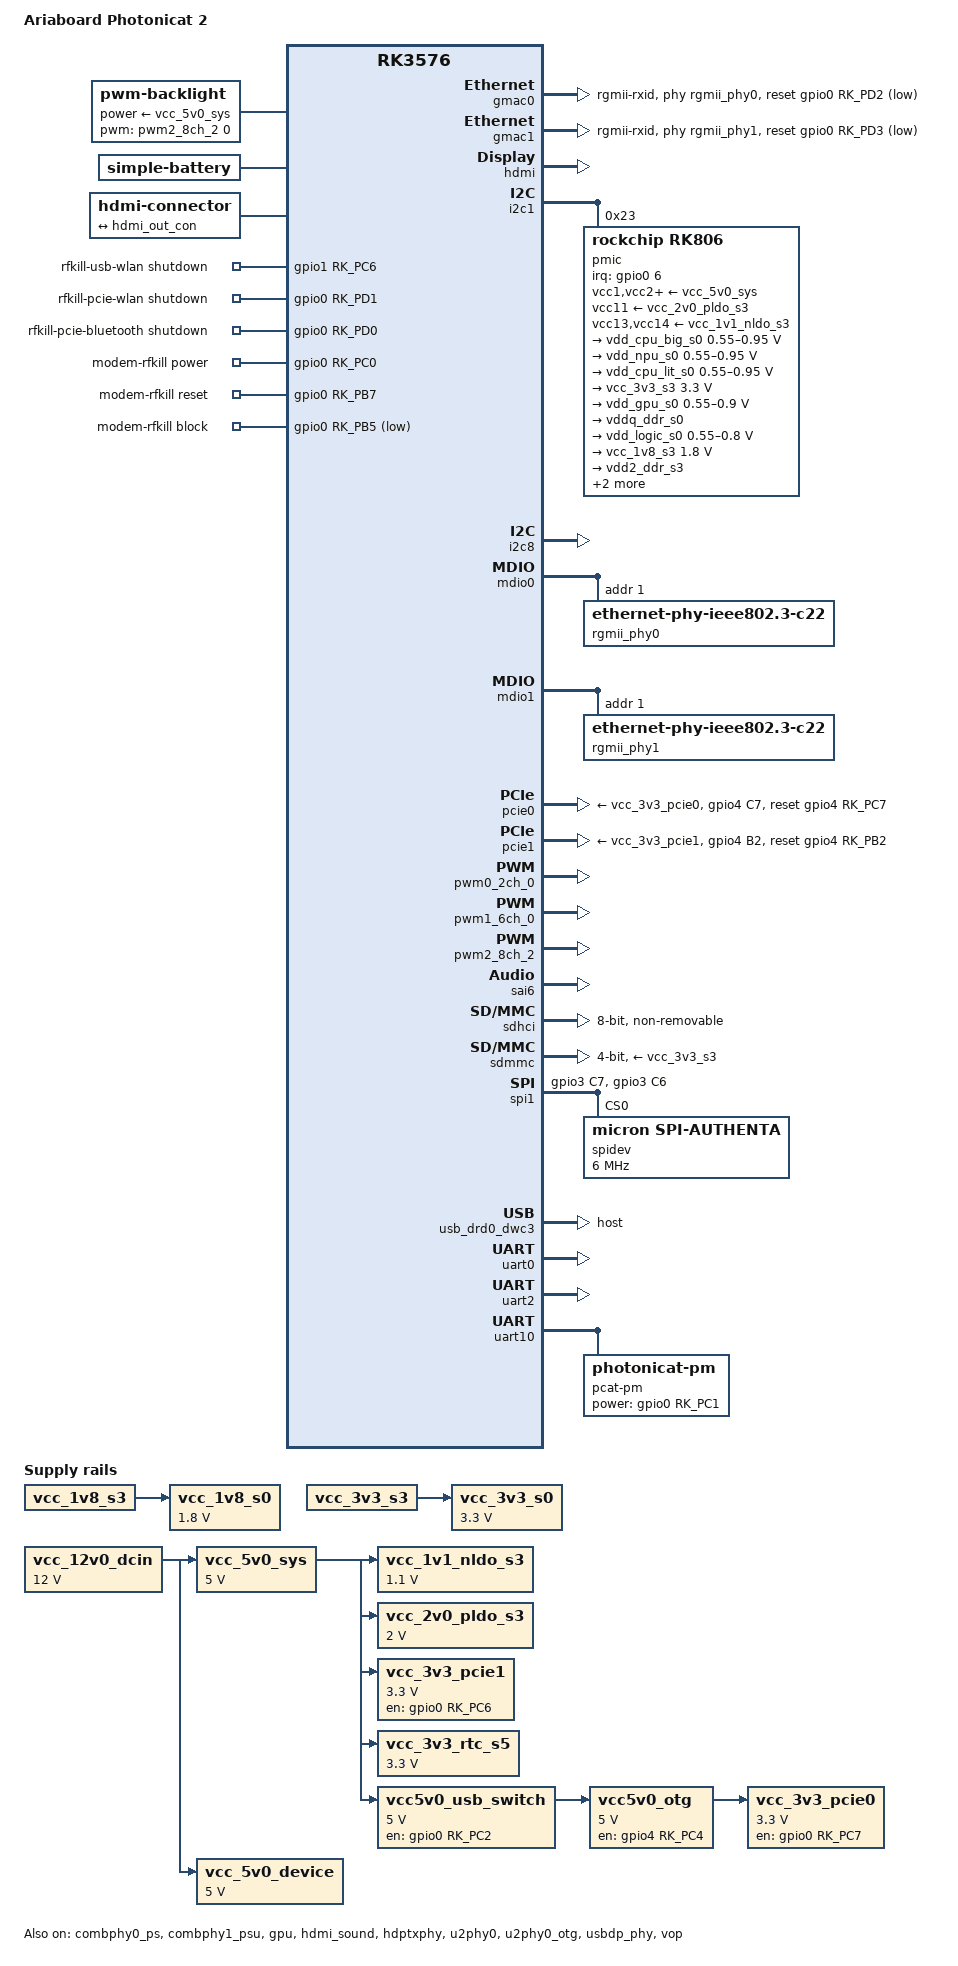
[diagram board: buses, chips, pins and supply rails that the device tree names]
// SPDX-License-Identifier: (GPL-2.0+ OR MIT)
/*
 * Copyright (c) 2024 Rockchip Electronics Co., Ltd.
 *
 */

/dts-v1/;

#include <dt-bindings/gpio/gpio.h>
#include <dt-bindings/leds/common.h>
#include <dt-bindings/pinctrl/rockchip.h>
#include <dt-bindings/pwm/pwm.h>
#include <dt-bindings/usb/pd.h>
#include <dt-bindings/thermal/thermal.h>
#include <dt-bindings/soc/rockchip,vop2.h>
#include "rk3576.dtsi"

/ {
	model = "Ariaboard Photonicat 2";
	compatible = "ariaboard,photonicat2", "rockchip,rk3576";

	aliases {
		ethernet0 = &gmac0;
		ethernet1 = &gmac1;
		mmc0 = &sdhci;
		mmc1 = &sdmmc;
	};

	chosen {
		stdout-path = "serial0:1500000n8";
	};

	backlight: backlight {
		compatible = "pwm-backlight";
		power-supply = <&vcc_5v0_sys>;
		pwms = <&pwm2_8ch_2 0 25000 PWM_POLARITY_INVERTED>;
	};

	battery: battery {
		compatible = "simple-battery";
		device-chemistry = "lithium-ion";
		voltage-min-design-microvolt = <6800000>;
		voltage-max-design-microvolt = <8400000>;
		energy-full-design-microwatt-hours = <51800000>;
		ocv-capacity-celsius = <20>;
		ocv-capacity-table-0 =  <8344000 100>, <8184000 95>, <8070000 90>, <7980000 85>,
					<7878000 80>, <7790000 75>, <7704000 70>, <7614000 65>,
					<7524000 60>, <7426000 55>, <7344000 50>, <7294000 45>,
					<7258000 40>, <7226000 35>, <7196000 30>, <7156000 25>,
					<7100000 20>, <7038000 15>, <6958000 10>, <6876000 5>,
					<6800000 0>;
	};

	hdmi-con {
		compatible = "hdmi-connector";
		type = "a";

		port {
			hdmi_con_in: endpoint {
				remote-endpoint = <&hdmi_out_con>;
			};
		};
	};

	vcc_12v0_dcin: regulator-vcc-12v0-dcin {
		compatible = "regulator-fixed";
		regulator-name = "vcc_12v0_dcin";
		regulator-always-on;
		regulator-boot-on;
		regulator-min-microvolt = <12000000>;
		regulator-max-microvolt = <12000000>;
	};

	vcc_1v1_nldo_s3: regulator-vcc-1v1-nldo-s3 {
		compatible = "regulator-fixed";
		regulator-name = "vcc_1v1_nldo_s3";
		regulator-boot-on;
		regulator-always-on;
		regulator-min-microvolt = <1100000>;
		regulator-max-microvolt = <1100000>;
		vin-supply = <&vcc_5v0_sys>;
	};

	vcc_1v8_s0: regulator-vcc-1v8-s0 {
		compatible = "regulator-fixed";
		regulator-name = "vcc_1v8_s0";
		regulator-boot-on;
		regulator-always-on;
		regulator-min-microvolt = <1800000>;
		regulator-max-microvolt = <1800000>;
		vin-supply = <&vcc_1v8_s3>;
	};

	vcc_2v0_pldo_s3: regulator-vcc-2v0-pldo-s3 {
		compatible = "regulator-fixed";
		regulator-name = "vcc_2v0_pldo_s3";
		regulator-boot-on;
		regulator-always-on;
		regulator-min-microvolt = <2000000>;
		regulator-max-microvolt = <2000000>;
		vin-supply = <&vcc_5v0_sys>;
	};

	vcc_3v3_pcie0: regulator-vcc-3v3-pcie0 {
		compatible = "regulator-fixed";
		pinctrl-names = "default";
		pinctrl-0 = <&pcie0_pwr_en>;
		regulator-name = "vcc_3v3_pcie0";
		regulator-min-microvolt = <3300000>;
		regulator-max-microvolt = <3300000>;
		enable-active-high;
		gpio = <&gpio0 RK_PC7 GPIO_ACTIVE_HIGH>;
		startup-delay-us = <5000>;
		vin-supply = <&vcc5v0_otg>;
	};

	vcc_3v3_pcie1: regulator-vcc-3v3-pcie1 {
		compatible = "regulator-fixed";
		pinctrl-names = "default";
		pinctrl-0 = <&pcie1_pwr_en>;
		regulator-name = "vcc_3v3_pcie1";
		regulator-min-microvolt = <3300000>;
		regulator-max-microvolt = <3300000>;
		enable-active-high;
		gpio = <&gpio0 RK_PC6 GPIO_ACTIVE_HIGH>;
		startup-delay-us = <5000>;
		vin-supply = <&vcc_5v0_sys>;
	};

	vcc_3v3_rtc_s5: regulator-vcc-3v3-rtc-s5 {
		compatible = "regulator-fixed";
		regulator-name = "vcc_3v3_rtc_s5";
		regulator-boot-on;
		regulator-always-on;
		regulator-min-microvolt = <3300000>;
		regulator-max-microvolt = <3300000>;
		vin-supply = <&vcc_5v0_sys>;
	};

	vcc_3v3_s0: regulator-vcc-3v3-s0 {
		compatible = "regulator-fixed";
		regulator-name = "vcc_3v3_s0";
		regulator-boot-on;
		regulator-always-on;
		regulator-min-microvolt = <3300000>;
		regulator-max-microvolt = <3300000>;
		vin-supply = <&vcc_3v3_s3>;
	};

	vcc_5v0_sys: regulator-vcc-5v0-sys {
		compatible = "regulator-fixed";
		regulator-name = "vcc_5v0_sys";
		regulator-always-on;
		regulator-boot-on;
		regulator-min-microvolt = <5000000>;
		regulator-max-microvolt = <5000000>;
		vin-supply = <&vcc_12v0_dcin>;
	};

	vcc_5v0_device: regulator-vcc-5v0-device {
		compatible = "regulator-fixed";
		regulator-name = "vcc_5v0_device";
		regulator-always-on;
		regulator-boot-on;
		regulator-min-microvolt = <5000000>;
		regulator-max-microvolt = <5000000>;
		vin-supply = <&vcc_12v0_dcin>;
	};

	vcc5v0_usb_switch: vcc5v0-usb-switch {
		compatible = "regulator-fixed";
		regulator-name = "vcc5v0_usb_switch";
		regulator-min-microvolt = <5000000>;
		regulator-max-microvolt = <5000000>;
		enable-active-high;
		startup-delay-us = <100000>;
		gpio = <&gpio0 RK_PC2 GPIO_ACTIVE_HIGH>;
		pinctrl-names = "default";
		pinctrl-0 = <&usb_hub_switch>;
		vin-supply = <&vcc_5v0_sys>;
	};

	vcc5v0_otg: regulator-vcc5v0-otg {
		compatible = "regulator-fixed";
		regulator-name = "vcc5v0_otg";
		regulator-min-microvolt = <5000000>;
		regulator-max-microvolt = <5000000>;
		enable-active-high;
		gpio = <&gpio4 RK_PC4 GPIO_ACTIVE_HIGH>;
		pinctrl-names = "default";
		pinctrl-0 = <&usb_otg_pwren>;
		vin-supply = <&vcc5v0_usb_switch>;
	};

	rfkill-usb-wlan {
		compatible = "rfkill-gpio";
		pinctrl-names = "default";
		pinctrl-0 = <&rfkill_usb_wlan>;
		label = "rfkill-usb-wlan";
		radio-type = "wlan";
		shutdown-gpios = <&gpio1 RK_PC6 GPIO_ACTIVE_HIGH>;
	};

	rfkill-pcie-wlan {
		compatible = "rfkill-gpio";
		pinctrl-names = "default";
		pinctrl-0 = <&rfkill_pcie_wlan>;
		label = "rfkill-pcie-wlan";
		radio-type = "wlan";
		shutdown-gpios = <&gpio0 RK_PD1 GPIO_ACTIVE_HIGH>;
	};

	rfkill-pcie-bluetooth {
		compatible = "rfkill-gpio";
		pinctrl-names = "default";
		pinctrl-0 = <&rfkill_pcie_bluetooth>;
		label = "rfkill-pcie-bluetooth";
		radio-type = "bluetooth";
		shutdown-gpios = <&gpio0 RK_PD0 GPIO_ACTIVE_HIGH>;
	};

	modem-rfkill {
		compatible = "rfkill-gpio-neo";
		pinctrl-names = "default";
		pinctrl-0 = <&rfkill_usb_wwan>;
		name = "modem-rfkill";
		type = "wwan";
		power-gpio = <&gpio0 RK_PC0 GPIO_ACTIVE_HIGH>;
		reset-gpio = <&gpio0 RK_PB7 GPIO_ACTIVE_HIGH>;
		block-gpio = <&gpio0 RK_PB5 GPIO_ACTIVE_LOW>;
		power-on-wait-time = <500>;
		reset-wait-time = <0>;
		reset-active-time = <800>;
	};
};

&combphy0_ps {
	status = "okay";
};

&combphy1_psu {
	status = "okay";
};

&cpu_b0 {
	cpu-supply = <&vdd_cpu_big_s0>;
};

&cpu_b1 {
	cpu-supply = <&vdd_cpu_big_s0>;
};

&cpu_b2 {
	cpu-supply = <&vdd_cpu_big_s0>;
};

&cpu_b3 {
	cpu-supply = <&vdd_cpu_big_s0>;
};

&cpu_l0 {
	cpu-supply = <&vdd_cpu_lit_s0>;
};

&cpu_l1 {
	cpu-supply = <&vdd_cpu_lit_s0>;
};

&cpu_l2 {
	cpu-supply = <&vdd_cpu_lit_s0>;
};

&cpu_l3 {
	cpu-supply = <&vdd_cpu_lit_s0>;
};

&gmac0 {
	phy-mode = "rgmii-rxid";
	clock_in_out = "output";

	snps,reset-gpio = <&gpio0 RK_PD2 GPIO_ACTIVE_LOW>;
	snps,reset-active-low;
	snps,reset-delays-us = <0 20000 100000>;

	pinctrl-names = "default";
	pinctrl-0 = <&eth0m1_miim
		     &eth0m1_tx_bus2
		     &eth0m1_rx_bus2
		     &eth0m1_rgmii_clk
		     &eth0m1_rgmii_bus
		     &ethm1_clk0_25m_out>;

	tx_delay = <0x20>;
	/* rx_delay = <0x3f>; */

	phy-handle = <&rgmii_phy0>;
	status = "okay";
};

&gmac1 {
	phy-mode = "rgmii-rxid";
	clock_in_out = "output";

	snps,reset-gpio = <&gpio0 RK_PD3 GPIO_ACTIVE_LOW>;
	snps,reset-active-low;
	snps,reset-delays-us = <0 20000 100000>;

	pinctrl-names = "default";
	pinctrl-0 = <&eth1m0_miim
		     &eth1m0_tx_bus2
		     &eth1m0_rx_bus2
		     &eth1m0_rgmii_clk
		     &eth1m0_rgmii_bus
		     &ethm0_clk1_25m_out>;

	tx_delay = <0x20>;
	/* rx_delay = <0x3f>; */

	phy-handle = <&rgmii_phy1>;
	status = "okay";
};

&gpu {
	mali-supply = <&vdd_gpu_s0>;
	status = "okay";
};

&hdmi {
	enable-gpios = <&gpio4 RK_PA6 GPIO_ACTIVE_HIGH>;
	status = "okay";
};

&hdmi_in {
	hdmi_in_vp0: endpoint {
		remote-endpoint = <&vp0_out_hdmi>;
	};
};

&hdmi_out {
	hdmi_out_con: endpoint {
		remote-endpoint = <&hdmi_con_in>;
	};
};

&hdmi_sound {
	status = "okay";
};

&hdptxphy {
	status = "okay";
};

&i2c1 {
	status = "okay";

	pmic@23 {
		compatible = "rockchip,rk806";
		reg = <0x23>;

		interrupt-parent = <&gpio0>;
		interrupts = <6 IRQ_TYPE_LEVEL_LOW>;

		pinctrl-names = "default";
		pinctrl-0 = <&pmic_pins>, <&rk806_dvs1_null>,
			    <&rk806_dvs2_null>, <&rk806_dvs3_null>;

		system-power-controller;

		vcc1-supply = <&vcc_5v0_sys>;
		vcc2-supply = <&vcc_5v0_sys>;
		vcc3-supply = <&vcc_5v0_sys>;
		vcc4-supply = <&vcc_5v0_sys>;
		vcc5-supply = <&vcc_5v0_sys>;
		vcc6-supply = <&vcc_5v0_sys>;
		vcc7-supply = <&vcc_5v0_sys>;
		vcc8-supply = <&vcc_5v0_sys>;
		vcc9-supply = <&vcc_5v0_sys>;
		vcc10-supply = <&vcc_5v0_sys>;
		vcc11-supply = <&vcc_2v0_pldo_s3>;
		vcc12-supply = <&vcc_5v0_sys>;
		vcc13-supply = <&vcc_1v1_nldo_s3>;
		vcc14-supply = <&vcc_1v1_nldo_s3>;
		vcca-supply = <&vcc_5v0_sys>;

		gpio-controller;
		#gpio-cells = <2>;

		rk806_dvs1_null: dvs1-null-pins {
			pins = "gpio_pwrctrl1";
			function = "pin_fun0";
		};

		rk806_dvs2_null: dvs2-null-pins {
			pins = "gpio_pwrctrl2";
			function = "pin_fun0";
		};

		rk806_dvs3_null: dvs3-null-pins {
			pins = "gpio_pwrctrl3";
			function = "pin_fun0";
		};

		rk806_dvs1_slp: dvs1-slp-pins {
			pins = "gpio_pwrctrl1";
			function = "pin_fun1";
		};

		rk806_dvs1_pwrdn: dvs1-pwrdn-pins {
			pins = "gpio_pwrctrl1";
			function = "pin_fun2";
		};

		rk806_dvs1_rst: dvs1-rst-pins {
			pins = "gpio_pwrctrl1";
			function = "pin_fun3";
		};

		rk806_dvs2_slp: dvs2-slp-pins {
			pins = "gpio_pwrctrl2";
			function = "pin_fun1";
		};

		rk806_dvs2_pwrdn: dvs2-pwrdn-pins {
			pins = "gpio_pwrctrl2";
			function = "pin_fun2";
		};

		rk806_dvs2_rst: dvs2-rst-pins {
			pins = "gpio_pwrctrl2";
			function = "pin_fun3";
		};

		rk806_dvs2_dvs: dvs2-dvs-pins {
			pins = "gpio_pwrctrl2";
			function = "pin_fun4";
		};

		rk806_dvs2_gpio: dvs2-gpio-pins {
			pins = "gpio_pwrctrl2";
			function = "pin_fun5";
		};

		rk806_dvs3_slp: dvs3-slp-pins {
			pins = "gpio_pwrctrl3";
			function = "pin_fun1";
		};

		rk806_dvs3_pwrdn: dvs3-pwrdn-pins {
			pins = "gpio_pwrctrl3";
			function = "pin_fun2";
		};

		rk806_dvs3_rst: dvs3-rst-pins {
			pins = "gpio_pwrctrl3";
			function = "pin_fun3";
		};

		rk806_dvs3_dvs: dvs3-dvs-pins {
			pins = "gpio_pwrctrl3";
			function = "pin_fun4";
		};

		rk806_dvs3_gpio: dvs3-gpio-pins {
			pins = "gpio_pwrctrl3";
			function = "pin_fun5";
		};

		regulators {
			vdd_cpu_big_s0: dcdc-reg1 {
				regulator-always-on;
				regulator-boot-on;
				regulator-min-microvolt = <550000>;
				regulator-max-microvolt = <950000>;
				regulator-ramp-delay = <12500>;
				regulator-name = "vdd_cpu_big_s0";
				regulator-enable-ramp-delay = <400>;
				regulator-state-mem {
					regulator-off-in-suspend;
				};
			};

			vdd_npu_s0: dcdc-reg2 {
				regulator-boot-on;
				regulator-min-microvolt = <550000>;
				regulator-max-microvolt = <950000>;
				regulator-ramp-delay = <12500>;
				regulator-name = "vdd_npu_s0";
				regulator-enable-ramp-delay = <400>;
				regulator-state-mem {
					regulator-off-in-suspend;
				};
			};

			vdd_cpu_lit_s0: dcdc-reg3 {
				regulator-always-on;
				regulator-boot-on;
				regulator-min-microvolt = <550000>;
				regulator-max-microvolt = <950000>;
				regulator-ramp-delay = <12500>;
				regulator-name = "vdd_cpu_lit_s0";
				regulator-state-mem {
					regulator-off-in-suspend;
					regulator-suspend-microvolt = <750000>;
				};
			};

			vcc_3v3_s3: dcdc-reg4 {
				regulator-always-on;
				regulator-boot-on;
				regulator-min-microvolt = <3300000>;
				regulator-max-microvolt = <3300000>;
				regulator-name = "vcc_3v3_s3";
				regulator-state-mem {
					regulator-on-in-suspend;
					regulator-suspend-microvolt = <3300000>;
				};
			};

			vdd_gpu_s0: dcdc-reg5 {
				regulator-boot-on;
				regulator-min-microvolt = <550000>;
				regulator-max-microvolt = <900000>;
				regulator-ramp-delay = <12500>;
				regulator-name = "vdd_gpu_s0";
				regulator-enable-ramp-delay = <400>;
				regulator-state-mem {
					regulator-off-in-suspend;
					regulator-suspend-microvolt = <850000>;
				};
			};

			vddq_ddr_s0: dcdc-reg6 {
				regulator-always-on;
				regulator-boot-on;
				regulator-name = "vddq_ddr_s0";
				regulator-state-mem {
					regulator-off-in-suspend;
				};
			};

			vdd_logic_s0: dcdc-reg7 {
				regulator-always-on;
				regulator-boot-on;
				regulator-min-microvolt = <550000>;
				regulator-max-microvolt = <800000>;
				regulator-name = "vdd_logic_s0";
				regulator-state-mem {
					regulator-off-in-suspend;
				};
			};

			vcc_1v8_s3: dcdc-reg8 {
				regulator-always-on;
				regulator-boot-on;
				regulator-min-microvolt = <1800000>;
				regulator-max-microvolt = <1800000>;
				regulator-name = "vcc_1v8_s3";
				regulator-state-mem {
					regulator-on-in-suspend;
					regulator-suspend-microvolt = <1800000>;
				};
			};

			vdd2_ddr_s3: dcdc-reg9 {
				regulator-always-on;
				regulator-boot-on;
				regulator-name = "vdd2_ddr_s3";
				regulator-state-mem {
					regulator-on-in-suspend;
				};
			};

			vdd_ddr_s0: dcdc-reg10 {
				regulator-always-on;
				regulator-boot-on;
				regulator-min-microvolt = <550000>;
				regulator-max-microvolt = <1200000>;
				regulator-name = "vdd_ddr_s0";
				regulator-state-mem {
					regulator-off-in-suspend;
				};
			};

			vcca_1v8_s0: pldo-reg1 {
				regulator-always-on;
				regulator-boot-on;
				regulator-min-microvolt = <1800000>;
				regulator-max-microvolt = <1800000>;
				regulator-name = "vcca_1v8_s0";
				regulator-state-mem {
					regulator-off-in-suspend;
				};
			};

			vcca1v8_pldo2_s0: pldo-reg2 {
				regulator-always-on;
				regulator-boot-on;
				regulator-min-microvolt = <1800000>;
				regulator-max-microvolt = <1800000>;
				regulator-name = "vcca1v8_pldo2_s0";
				regulator-state-mem {
					regulator-off-in-suspend;
				};
			};

			vdda_1v2_s0: pldo-reg3 {
				regulator-always-on;
				regulator-boot-on;
				regulator-min-microvolt = <1200000>;
				regulator-max-microvolt = <1200000>;
				regulator-name = "vdda_1v2_s0";
				regulator-state-mem {
					regulator-off-in-suspend;
				};
			};

			vcca_3v3_s0: pldo-reg4 {
				regulator-always-on;
				regulator-boot-on;
				regulator-min-microvolt = <3300000>;
				regulator-max-microvolt = <3300000>;
				regulator-name = "vcca_3v3_s0";
				regulator-state-mem {
					regulator-off-in-suspend;
				};
			};

			vccio_sd_s0: pldo-reg5 {
				regulator-always-on;
				regulator-boot-on;
				regulator-min-microvolt = <1800000>;
				regulator-max-microvolt = <3300000>;
				regulator-name = "vccio_sd_s0";
				regulator-state-mem {
					regulator-off-in-suspend;
				};
			};

			vcca1v8_pldo6_s3: pldo-reg6 {
				regulator-always-on;
				regulator-boot-on;
				regulator-min-microvolt = <1800000>;
				regulator-max-microvolt = <1800000>;
				regulator-name = "vcca1v8_pldo6_s3";
				regulator-state-mem {
					regulator-on-in-suspend;
					regulator-suspend-microvolt = <1800000>;
				};
			};

			vdd_0v75_s3: nldo-reg1 {
				regulator-always-on;
				regulator-boot-on;
				regulator-min-microvolt = <750000>;
				regulator-max-microvolt = <750000>;
				regulator-name = "vdd_0v75_s3";
				regulator-state-mem {
					regulator-on-in-suspend;
					regulator-suspend-microvolt = <750000>;
				};
			};

			vdda_ddr_pll_s0: nldo-reg2 {
				regulator-always-on;
				regulator-boot-on;
				regulator-min-microvolt = <850000>;
				regulator-max-microvolt = <850000>;
				regulator-name = "vdda_ddr_pll_s0";
				regulator-state-mem {
					regulator-off-in-suspend;
				};
			};

			vdda0v75_hdmi_s0: nldo-reg3 {
				regulator-always-on;
				regulator-boot-on;
				regulator-min-microvolt = <837500>;
				regulator-max-microvolt = <837500>;
				regulator-name = "vdda0v75_hdmi_s0";
				regulator-state-mem {
					regulator-off-in-suspend;
				};
			};

			vdda_0v85_s0: nldo-reg4 {
				regulator-always-on;
				regulator-boot-on;
				regulator-min-microvolt = <850000>;
				regulator-max-microvolt = <850000>;
				regulator-name = "vdda_0v85_s0";
				regulator-state-mem {
					regulator-off-in-suspend;
				};
			};

			vdda_0v75_s0: nldo-reg5 {
				regulator-always-on;
				regulator-boot-on;
				regulator-min-microvolt = <750000>;
				regulator-max-microvolt = <750000>;
				regulator-name = "vdda_0v75_s0";
				regulator-state-mem {
					regulator-off-in-suspend;
				};
			};
		};
	};
};

&i2c8 {
	pinctrl-0 = <&i2c8m3_xfer>;
	status = "okay";
};

&mdio0 {
	rgmii_phy0: phy@1 {
		compatible = "ethernet-phy-ieee802.3-c22";
		reg = <0x1>;
		clocks = <&cru REFCLKO25M_GMAC0_OUT>;
		realtek,led-data = <0x6d60>;
	};
};

&mdio1 {
	rgmii_phy1: phy@1 {
		compatible = "ethernet-phy-ieee802.3-c22";
		reg = <0x1>;
		clocks = <&cru REFCLKO25M_GMAC1_OUT>;
		realtek,led-data = <0x6d60>;
	};
};

&pcie0 {
	pinctrl-names = "default";
	pinctrl-0 = <&pcie0_reset>;
	reset-gpios = <&gpio4 RK_PC7 GPIO_ACTIVE_HIGH>;
	vpcie3v3-supply = <&vcc_3v3_pcie0>;
	status = "okay";
};

&pcie1 {
	pinctrl-names = "default";
	pinctrl-0 = <&pcie1_reset &pcie1m2_pins>;
	reset-gpios = <&gpio4 RK_PB2 GPIO_ACTIVE_HIGH>;
	vpcie3v3-supply = <&vcc_3v3_pcie1>;
	status = "okay";
};

&pinctrl {
	usb {
		usb_otg_pwren: usb-otg-pwren {
			rockchip,pins = <4 RK_PC4 RK_FUNC_GPIO &pcfg_pull_none>;
		};

		usb_hub_switch: usb-hub-switch {
			rockchip,pins = <0 RK_PC2 RK_FUNC_GPIO &pcfg_pull_none>;
		};
	};

	spi1 {
		/omit-if-no-ref/
		spi1m2_1_pins: spi1m2-1-pins {
			rockchip,pins =
				/* spi1_clk_m2 */
				<3 RK_PC7 10 &pcfg_pull_none>,
				/* spi1_mosi_m2 */
				<3 RK_PC6 10 &pcfg_pull_none>;
		};
	};

	pcie {
		pcie0_pwr_en: pcie0-pwr-en {
			rockchip,pins = <0 RK_PC7 RK_FUNC_GPIO &pcfg_pull_down>;
		};
		pcie1_pwr_en: pcie1-pwr-en {
			rockchip,pins = <0 RK_PC6 RK_FUNC_GPIO &pcfg_pull_down>;
		};
		pcie0_reset: pcie0-reset {
			rockchip,pins = <4 RK_PC7 RK_FUNC_GPIO &pcfg_pull_up>;
		};
		pcie1_reset: pcie1-reset {
			rockchip,pins = <4 RK_PB2 RK_FUNC_GPIO &pcfg_pull_up>;
		};
	};

	rfkill {
		rfkill_usb_wlan: rfkill-usb-wlan {
			rockchip,pins = <1 RK_PC6 RK_FUNC_GPIO &pcfg_pull_down>;
		};
		rfkill_pcie_wlan: rfkill-pcie-wlan {
			rockchip,pins = <0 RK_PD1 RK_FUNC_GPIO &pcfg_pull_down>;
		};
		rfkill_pcie_bluetooth: rfkill-pcie-bluetooth {
			rockchip,pins = <0 RK_PD0 RK_FUNC_GPIO &pcfg_pull_down>;
		};
		rfkill_usb_wwan: rfkill-usb-wwan {
			rockchip,pins = <0 RK_PC0 RK_FUNC_GPIO &pcfg_pull_down>,
					<0 RK_PB7 RK_FUNC_GPIO &pcfg_pull_none>,
					<0 RK_PB5 RK_FUNC_GPIO &pcfg_pull_up>;
		};
	};
};

&pwm0_2ch_0 {
	pinctrl-0 = <&pwm0m3_ch0>;
	assigned-clocks = <&cru CLK_PMU1PWM>;
	assigned-clock-rates = <100000000>;
	status = "okay";
};

&pwm1_6ch_0 {
	pinctrl-0 = <&pwm1m3_ch0>;
	assigned-clocks = <&cru CLK_PWM1>;
	assigned-clock-rates = <100000000>;
	status = "okay";
};

&pwm2_8ch_2 {
	pinctrl-0 = <&pwm2m3_ch2>;
	assigned-clocks = <&cru CLK_PWM2>;
	assigned-clock-rates = <100000000>;
	status = "okay";
};

&sai6 {
	status = "okay";
};

&sdhci {
	bus-width = <8>;
	full-pwr-cycle-in-suspend;
	max-frequency = <150000000>;
	mmc-hs400-1_8v;
	mmc-hs400-enhanced-strobe;
	/delete-property/ supports-cqe;
	non-removable;
	status = "okay";
};

&sdmmc {
	bus-width = <4>;
	cap-sd-highspeed;
	disable-wp;
	sd-uhs-sdr104;
	vmmc-supply = <&vcc_3v3_s3>;
	vqmmc-supply = <&vccio_sd_s0>;
	status = "okay";
};

&spi1 {
	pinctrl-0 = <&spi1m2_csn0 &spi1m2_1_pins>;
	status = "okay";

	spidev@0 {
		compatible = "micron,spi-authenta";
		reg = <0>;
		spi-max-frequency = <6000000>;
	};
};

&u2phy0 {
	status = "okay";
};

&usb_drd0_dwc3 {
	dr_mode = "host";
	status = "okay";
};

&u2phy0_otg {
	phy-supply = <&vcc5v0_otg>;
	status = "okay";
};

&usbdp_phy {
	status = "okay";
};

&uart0 {
	pinctrl-0 = <&uart0m0_xfer>;
	status = "okay";
};

&uart2 {
	pinctrl-0 = <&uart2m2_xfer>;
	status = "okay";
};

&uart10 {
	pinctrl-0 = <&uart10m2_xfer>;
	status = "okay";

	pcat-pm {
		compatible = "photonicat-pm";
		baudrate = <115200>;
		pm-version = <2>;
		power-gpio = <&gpio0 RK_PC1 GPIO_ACTIVE_HIGH>;
		force-poweroff-timeout = <60>;

		charger {
			monitored-battery = <&battery>;
		};
	};
};

&vop {
	status = "okay";
};

&vop_mmu {
	status = "okay";
};

&vp0 {
	vp0_out_hdmi: endpoint@ROCKCHIP_VOP2_EP_HDMI0 {
		reg = <ROCKCHIP_VOP2_EP_HDMI0>;
		remote-endpoint = <&hdmi_in_vp0>;
	};
};
